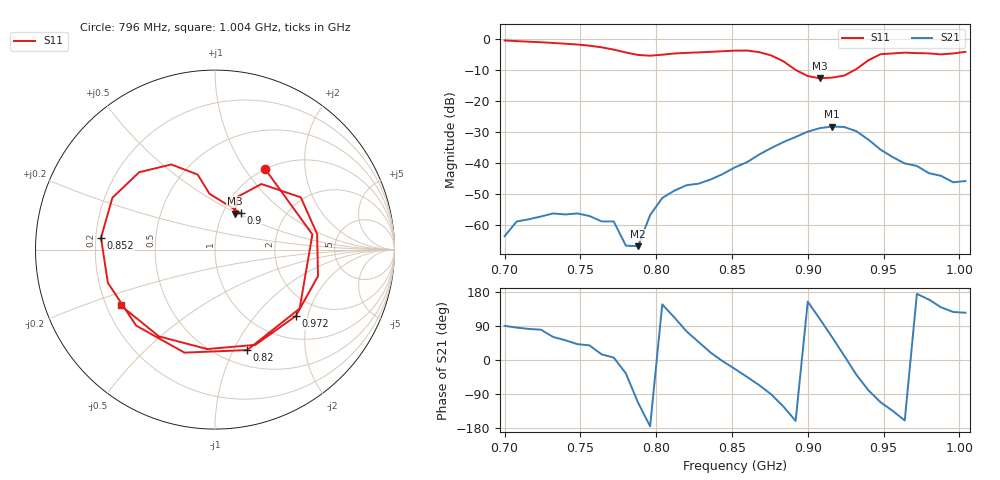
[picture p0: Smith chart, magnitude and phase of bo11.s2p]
# Hz S RI R 50
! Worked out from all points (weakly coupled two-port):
!   39 points, 700 MHz to 1.004 GHz, reference 50 ohm
!   highest |S21| = -28.31 dB at 916 MHz (marker M1); lowest = -66.8 dB at 788 MHz (marker M2)
!   lowest |S11| = -12.8 dB at 908 MHz (marker M3), VSWR 1.59, Z = 57 + j24.2 ohm
!   |S11| at or under -10 dB: 891.7 MHz to 931.5 MHz (39.78 MHz wide, 4.36 % of centre)
!   S12 and S22 are empty: the file has one direction only
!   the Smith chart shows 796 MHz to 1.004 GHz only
!   S11 on the Smith chart (normalised r, x): 796 MHz: 1.00, +1.25; 820 MHz: 0.66, -1.13; 852 MHz: 0.22, +0.05; 900 MHz: 1.21, +0.52; 972 MHz: 1.50, -1.69; 1.004 GHz: 0.26, -0.26
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7e8  0.7649 0.5306  -8.88e-07 0.000663  0 0  0 0
7.08e8  0.8621 0.2868  9.05e-05 0.00114  0 0  0 0
7.24e8  0.8302 -0.2625  0.00024 0.00135  0 0  0 0
7.4e8  0.4398 -0.6982  0.000908 0.00117  0 0  0 0
7.56e8  -0.1997 -0.7403  0.00109 0.000872  0 0  0 0
7.72e8  -0.6409 -0.1723  0.00113 0.000127  0 0  0 0
7.8e8  -0.5466 0.2393  0.00038 -0.00027  0 0  0 0
7.88e8  -0.185 0.5124  -0.000172 -0.000424  0 0  0 0
7.96e8  0.2787 0.4499  -0.00144 -0.000124  0 0  0 0
8.04e8  0.5426 0.0844  -0.00228 0.00149  0 0  0 0
8.2e8  0.1793 -0.5598  0.00109 0.00423  0 0  0 0
8.36e8  -0.4393 -0.4235  0.00511 0.00178  0 0  0 0
8.52e8  -0.6352 0.0651  0.00776 -0.00342  0 0  0 0
8.76e8  -0.2435 0.4744  -0.000309 -0.0174  0 0  0 0
9e8  0.1446 0.2026  -0.0285 0.0139  0 0  0 0
9.08e8  0.1106 0.2008  -0.0112 0.0344  0 0  0 0
9.16e8  0.1051 0.2104  0.0188 0.0335  0 0  0 0
9.4e8  0.2584 0.3654  0.0042 -0.0233  0 0  0 0
9.56e8  0.5689 0.0873  -0.00863 -0.0089  0 0  0 0
9.72e8  0.4502 -0.3701  -0.00887 0.000856  0 0  0 0
9.88e8  -0.0435 -0.554  -0.00465 0.00405  0 0  0 0
1.004e9  -0.5255 -0.3109  -0.0029 0.00419  0 0  0 0
